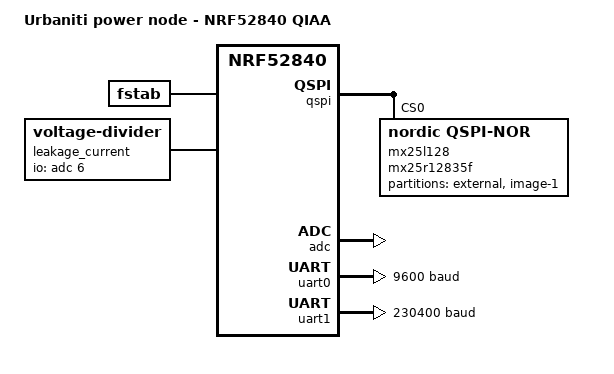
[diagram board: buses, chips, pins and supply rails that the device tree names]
/dts-v1/;
#include <nordic/nrf52840_qiaa.dtsi>

/ {
	model = "Urbaniti power node - NRF52840 QIAA";

	chosen {
		zephyr,bt,uart = &uart0;
		zephyr,sram = &sram0;
		zephyr,flash = &flash0;
		zephyr,code-partition = &slot0_partition;
	};

	fstab {
		compatible = "zephyr,fstab";
		lfs1: lfs1 {
			compatible = "zephyr,fstab,littlefs";
			mount-point = "/lfs1";
			partition = <&lfs1_part>;
			automount;
			read-size = <16>;
			prog-size = <16>;
			cache-size = <64>;
			lookahead-size = <32>;
			block-cycles = <512>;
		};
	};

	leakage_current {
		compatible = "voltage-divider";
		io-channels = <&adc 6>;
		output-ohms = <1>;
		full-ohms = <1>;
	};
};

main_flash: &qspi {
	status = "okay";
	pinctrl-0 = <&qspi_default>;
	pinctrl-1 = <&qspi_sleep>;
	pinctrl-names = "default", "sleep";
	mx25l128: mx25r12835f@0 {
		compatible = "nordic,qspi-nor";
		reg = <0>;
		writeoc = "pp4io";
		readoc = "read4io";
		sck-frequency = <8000000>;
		jedec-id = [c2 20 18];
		sfdp-bfp = [
			e5 20 f1 ff  ff ff ff 07  44 eb 08 6b  08 3b 04 bb
			fe ff ff ff  ff ff 00 ff  ff ff 44 eb  0c 20 0f 52
			10 d8 00 ff  11 52 c9 00  81 a8 04 c3  44 82 68 44
			30 b0 30 b0  f7 c4 d5 5c  00 be 29 ff  f0 d0 ff ff
		];
		size = <134217728>;
		has-dpd;
		t-enter-dpd = <10000>;
		t-exit-dpd = <35000>;
	};
};

&mx25l128 {
	partitions {
		compatible = "fixed-partitions";
		#address-cells = <1>;
		#size-cells = <1>;

		lfs1_part: partition@0 {
			label = "external";
			reg = <0x00000000 0x00020000>;
		};
		slot1_partition: partition@20000 {
			label = "image-1";
			reg = <0x00020000 0x00067000>;
		};
	};
};

&gpiote {
	status = "okay";
};

&gpio0 {
	status = "okay";
};

&gpio1 {
	status = "okay";
};

&adc {
	status = "okay";
};

&uicr {
	gpio-as-nreset;
};

uart_modbus: &uart0 {
	compatible = "nordic,nrf-uarte";
	current-speed = <9600>;
	pinctrl-0 = <&uart_modbus_default>;
	pinctrl-1 = <&uart_modbus_sleep>;
	pinctrl-names = "default", "sleep";
};

uart_modem: &uart1 {
	compatible = "nordic,nrf-uarte";
	current-speed = <230400>;
	pinctrl-0 = <&uart_modem_default>;
	pinctrl-1 = <&uart_modem_sleep>;
	pinctrl-names = "default", "sleep";

};

&flash0 {
	partitions {
		compatible = "fixed-partitions";
		#address-cells = <1>;
		#size-cells = <1>;

		boot_partition: partition@0 {
			label = "mcuboot";
			reg = <0x000000000 0x0000C000>;
		};
		slot0_partition: partition@c000 {
			label = "image-0";
			reg = <0x0000C000 0x0006A000>;
		};
		slot2_partition: partition@76000 {
			label = "image-2";
			reg = <0x00076000 0x0006A000>;
		};

		/*
		 * The flash starting at 0x000f8000 and ending at
		 * 0x000fffff is reserved for use by the application.
		 */

		/*
		 * Storage partition will be used by FCB/LittleFS/NVS
		 * if enabled.
		 */
		storage_partition: partition@e0000 {
			label = "storage";
			reg = <0x000e0000 0x00020000>;
		};
	};
};
